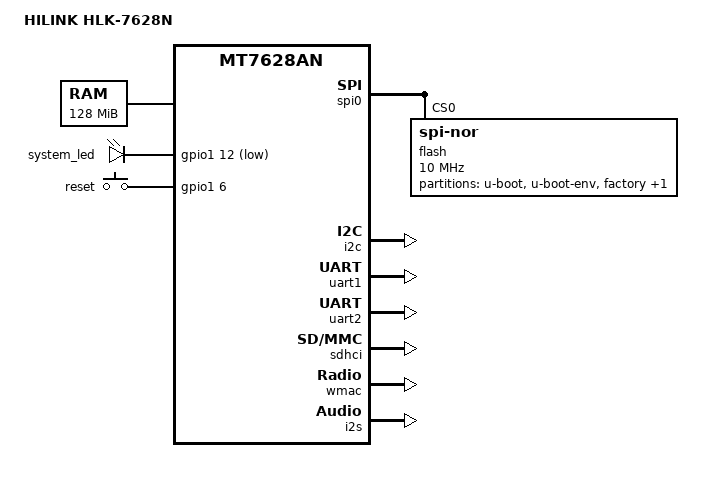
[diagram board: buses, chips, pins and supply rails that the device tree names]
// SPDX-License-Identifier: GPL-2.0-or-later OR MIT
/dts-v1/;

#include "mt7628an.dtsi"

#include <dt-bindings/gpio/gpio.h>
#include <dt-bindings/input/input.h>

/ {
	compatible = "hilink,hlk-7628n", "mediatek,mt7628an-soc";
	model = "HILINK HLK-7628N";

	memory@0 {
		device_type = "memory";
		reg = <0x0 0x8000000>;
	};

	chosen {
		bootargs = "console=ttyS0,57600";
	};

    gpio-leds {
        compatible = "gpio-leds";
 
        system_led: system {
            gpios = <&gpio1 12 GPIO_ACTIVE_LOW>;
        };
    };
 
    gpio-keys-polled {
        compatible = "gpio-keys-polled";
        #address-cells = <1>;
        #size-cells = <0>;
        poll-interval = <20>;
 
        reset {
            label = "reset";
            gpios = <&gpio1 6 GPIO_ACTIVE_HIGH>;
            linux,code = <KEY_RESTART>;
        };
    };
 
    sound {
        compatible = "simple-audio-card";
        simple-audio-card,name = "Audio-I2S";
        simple-audio-card,format = "i2s";
        simple-audio-card,bitclock-master = <&cpu_dai_master>;
        simple-audio-card,frame-master = <&cpu_dai_master>;
        simple-audio-card,widgets =
            "Speaker", "External Speaker";
 
        cpu_dai_master: simple-audio-card,cpu {
            sound-dai = <&i2s>;
        };
 
        dailink0_master: simple-audio-card,codec {
            sound-dai = <&codec>;
        };
    };
 
  codec: pcm5102a {
        #sound-dai-cells = <0>;
    compatible = "ti,pcm5102a";

  };

};

&pinctrl {
    state_default: pinctrl0 {
        gpio {
            ralink,group = "gpio";
            ralink,function = "gpio";
        };
 
        perst {
            ralink,group = "perst";
            ralink,function = "gpio";
        };
 
        refclk {
            ralink,group = "refclk";
            ralink,function = "gpio";
        };
 
        i2s {
            ralink,group = "i2s";
            ralink,function = "i2s";
        };
 
        spis {
            ralink,group = "spis";
            ralink,function = "gpio";
        };
 
        wled_kn {
            ralink,group = "wled_kn";
            ralink,function = "gpio";
        };
 
        wled_an {
            ralink,group = "wled_an";
            ralink,function = "gpio";
        };
 
        wdt {
            ralink,group = "wdt";
            ralink,function = "gpio";
        };
 
        pwm0 {
            ralink,group = "pwm0";
            ralink,function = "gpio";
        };
 
        pwm1 {
            ralink,group = "pwm1";
            ralink,function = "gpio";
        };
    };
};
 
&gpio1 {
    status = "okay";
};
 
&gpio2 {
    status = "okay";
};

&spi0 {
	status = "okay";

	flash@0 {
		compatible = "jedec,spi-nor";
		reg = <0>;
		spi-max-frequency = <10000000>;

		partitions {
			compatible = "fixed-partitions";
			#address-cells = <1>;
			#size-cells = <1>;

			partition@0 {
				label = "u-boot";
				reg = <0x0 0x30000>;
				read-only;
			};

			partition@30000 {
				label = "u-boot-env";
				reg = <0x30000 0x10000>;
				read-only;
			};

			factory: partition@40000 {
				label = "factory";
				reg = <0x40000 0x10000>;
				read-only;
			};

			partition@50000 {
				compatible = "denx,uimage";
				label = "firmware";
				reg = <0x50000 0x1fb0000>;
			};
		};
	};
};

&i2c {
    status = "okay";
};
 
&uart1 {
    status = "okay";
};
 
&uart2 {
    status = "okay";
};
 
&ethernet {
    mtd-mac-address = <&factory 0x28>;
};
 
&sdhci {
    status = "okay";
    mediatek,cd-low;
};
 
&wmac {
    status = "okay";
};
 
&gdma {
    status = "okay";
};
 
&i2s {
    #sound-dai-cells = <0>;
    status = "okay";
};



